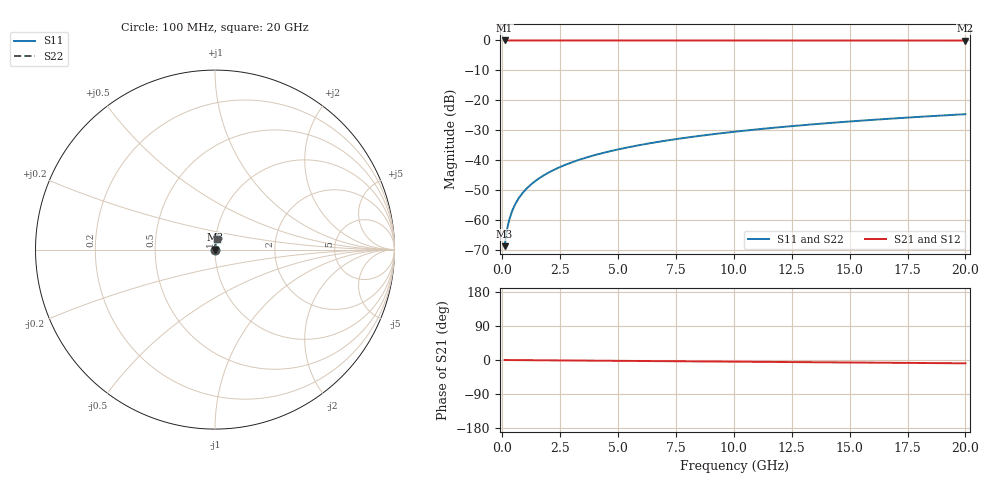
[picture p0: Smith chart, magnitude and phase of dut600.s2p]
! Touchstone file exported from HFSS 2026.1.0
!  File:  C:/ffzhzh/LocalFiles/Ansys_Project_Files/temp_train_TSV_600_1783025406_4048.aedt
!  Generated:  04:51:55 AM Jul  3, 2026
!  Design:  TSV
!  Project:  temp_train_TSV_600_1783025406_4048
! Variables:
!  h_bsmrdl = 2um
!  h_ox = 20um
!  h_rdl = 5um
!  h_sub = 74.77um
!  h_tmrdl = 5um
!  h_tsv = 74.77um
!  h_via = 3um
!  l_bsmrdl = 300um
!  l_sub = 417.48um
!  l_tmrdl = 200um
!  m_sub = 200um
!  pitch = 59.1um
!  r_tsv = 8.74um
!  s_tmrdl = 10um
!  w_bsmrdl = 18um
!  w_sub = 500um
!  w_tmrdl = 12um
!  x_tsv_center1 = 206um
!  x_tsv_center2 = 524um
!  x_tsv_center3 = 736um
!  x_tsv_center4 = 1054um
!  x_tsv_center5 = 1266um
!  x_tsv_center6 = 1584um
# GHz S MA R 50.000000
! Terminal data exported
! Port[1] = TSV1_1_T1
! Port[2] = TSV1_1_T2
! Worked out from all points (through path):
!   200 points, 100 MHz to 20 GHz, reference 50 ohm
!   highest |S21| = 0.00 dB at 100 MHz (marker M1); lowest = 0.0 dB at 20 GHz (marker M2)
!   group delay of S21, straight-line fit = 1.21 ps
!   lowest |S11| = -68.8 dB at 100 MHz (marker M3), VSWR 1.00, Z = 50 + j0.0332 ohm
!   |S11| at or under -10 dB: start of sweep to end of sweep
!   |S22| runs from -68.8 to -24.7 dB; largest |S21 - S12| = 2.1e-15
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0.1  0.0003625 66.4  0.9999 -0.0  0.9999 -0.0  0.0003625 66.4
! Gamma 0 0 0 0
! Port Impedance 50 0 50 0
0.2  0.0006802 76.8  0.9998 -0.1  0.9998 -0.1  0.0006802 76.8
0.3  0.001004 80.2  0.9998 -0.1  0.9998 -0.1  0.001004 80.2
0.4  0.001325 81.7  0.9998 -0.2  0.9998 -0.2  0.001325 81.7
0.5  0.001643 82.6  0.9998 -0.2  0.9998 -0.2  0.001643 82.6
0.6  0.001957 83.1  0.9998 -0.3  0.9998 -0.3  0.001957 83.1
0.7  0.002267 83.4  0.9998 -0.3  0.9998 -0.3  0.002267 83.4
0.8  0.002574 83.7  0.9997 -0.4  0.9997 -0.4  0.002574 83.7
1  0.003181 84.1  0.9997 -0.5  0.9997 -0.5  0.003181 84.1
1.4  0.004381 84.7  0.9996 -0.6  0.9996 -0.6  0.004381 84.7
1.7  0.005275 85.0  0.9996 -0.8  0.9996 -0.8  0.005275 85.0
2  0.006168 85.2  0.9996 -0.9  0.9996 -0.9  0.006168 85.2
2.7  0.00825 85.5  0.9995 -1.2  0.9995 -1.2  0.00825 85.5
3.5  0.01062 85.6  0.9994 -1.5  0.9994 -1.5  0.01062 85.6
4.2  0.01269 85.5  0.9993 -1.9  0.9993 -1.9  0.01269 85.5
5  0.01505 85.4  0.9992 -2.2  0.9992 -2.2  0.01505 85.4
6.8  0.02034 84.9  0.999 -3.0  0.999 -3.0  0.02034 84.9
8.3  0.02472 84.4  0.9989 -3.6  0.9989 -3.6  0.02472 84.4
10.1  0.02996 83.8  0.9986 -4.4  0.9986 -4.4  0.02996 83.8
13.4  0.03952 82.6  0.9982 -5.9  0.9982 -5.9  0.03952 82.6
16.7  0.04902 81.3  0.9976 -7.3  0.9976 -7.3  0.04902 81.3
20  0.05845 80.0  0.997 -8.7  0.997 -8.7  0.05845 80.0
